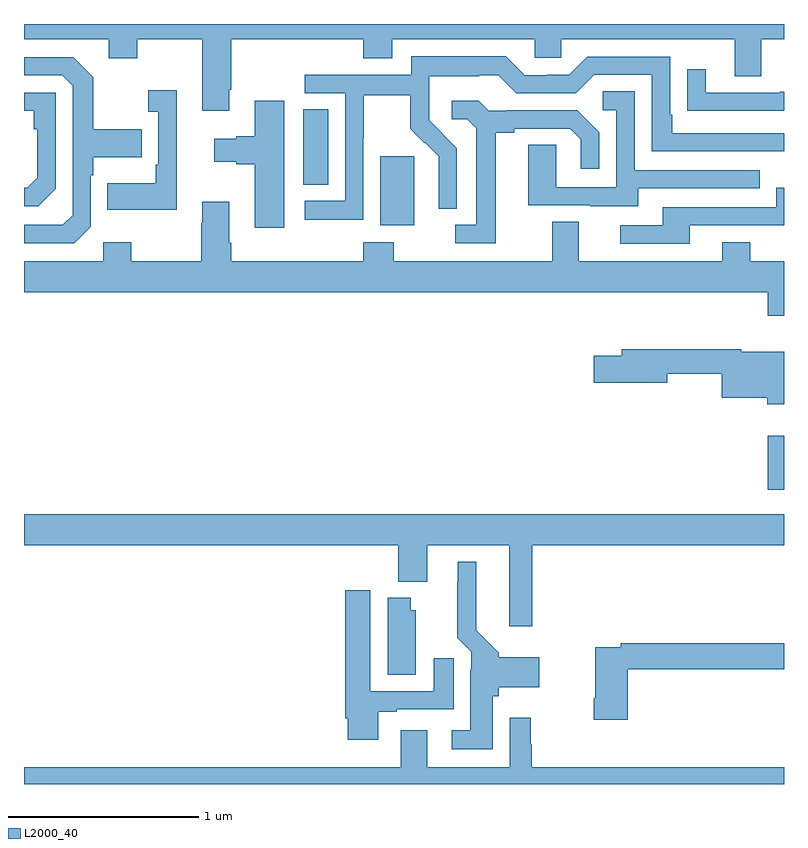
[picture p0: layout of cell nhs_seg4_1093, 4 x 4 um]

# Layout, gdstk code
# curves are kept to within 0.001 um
import gdstk
lib = gdstk.Library(unit=1e-6, precision=1e-09)
def R(c, l, rs):  # rectangles x0, y0, x1, y1
    for r in rs: c.add(gdstk.rectangle(r[:2], r[2:], *l))
def P(c, l, *ps):  # polygons
    for p in ps: c.add(gdstk.Polygon(p, *l))
L2000_40 = (2000, 40)

nhs_seg4_1093 = lib.new_cell('nhs_seg4_1093')
R(nhs_seg4_1093, L2000_40, [(170.915,794.448,171,794.734), (168.875,795.842,169.054,796.203), (168.47,796.054,168.601,796.451)])
P(nhs_seg4_1093, L2000_40, [(168.079,796.555),(168.092,796.555),(168.092,796.82),(168.785,796.82),(168.785,796.721),(168.937,796.721),(168.937,796.82),(169.689,796.82),(169.689,796.722),(169.827,796.722),(169.827,796.82),(170.741,796.82),(170.741,796.626),(170.881,796.626),(170.881,796.82),(171,796.82),(171,796.9),(167,796.9),(167,796.82),(167.447,796.82),(167.447,796.721),(167.595,796.721),(167.595,796.82),(167.939,796.82),(167.939,796.443),(168.079,796.443)],
  [(168.786,796.3),(168.789,796.3),(168.789,796.524),(169.033,796.524),(169.033,796.349),(169.11,796.272),(169.113,796.275),(169.184,796.205),(169.184,796.082),(169.182,796.082),(169.182,795.928),(169.278,795.928),(169.278,796.246),(169.132,796.394),(169.132,796.491),(169.134,796.491),(169.134,796.625),(169.397,796.625),(169.397,796.629),(169.497,796.629),(169.59,796.536),(169.905,796.536),(170.001,796.632),(170.304,796.632),(170.304,796.23),(171,796.23),(171,796.326),(170.413,796.326),(170.413,796.423),(170.4,796.423),(170.4,796.728),(169.965,796.728),(169.869,796.632),(169.751,796.632),(169.751,796.629),(169.635,796.629),(169.535,796.729),(169.038,796.729),(169.038,796.632),(168.477,796.632),(168.477,796.536),(168.69,796.536),(168.69,795.969),(168.477,795.969),(168.477,795.871),(168.786,795.871)],
  [(167.352,795.834),(167.352,796.103),(167.365,796.103),(167.365,796.199),(167.621,796.199),(167.621,796.347),(167.365,796.347),(167.365,796.619),(167.259,796.725),(167,796.725),(167,796.629),(167.202,796.629),(167.256,796.575),(167.256,795.894),(167.205,795.843),(167,795.843),(167,795.747),(167.265,795.747)],
  [(171,796.544),(170.977,796.544),(170.977,796.539),(170.587,796.539),(170.587,796.663),(170.491,796.663),(170.491,796.444),(170.593,796.444),(170.593,796.443),(171,796.443)],
  [(167.804,796.552),(167.655,796.552),(167.655,796.439),(167.706,796.439),(167.706,796.159),(167.694,796.159),(167.694,796.063),(167.437,796.063),(167.437,795.923),(167.804,795.923)],
  [(170.233,796.035),(170.873,796.035),(170.873,796.131),(170.214,796.131),(170.214,796.547),(170.046,796.547),(170.046,796.446),(170.118,796.446),(170.118,796.041),(169.8,796.041),(169.8,796.265),(169.655,796.265),(169.655,795.945),(169.979,795.945),(169.979,795.941),(170.233,795.941)],
  [(167.166,796.032),(167.166,796.539),(167,796.539),(167,796.443),(167.05,796.443),(167.05,796.346),(167.07,796.346),(167.07,796.092),(167.017,796.039),(167,796.039),(167,795.942),(167.076,795.942)],
  [(168.37,796.495),(168.215,796.495),(168.215,796.31),(168.116,796.31),(168.116,796.297),(168,796.297),(168,796.175),(168.116,796.175),(168.116,796.163),(168.215,796.163),(168.215,795.828),(168.37,795.828)],
  [(169.483,796.328),(169.579,796.328),(169.579,796.35),(169.874,796.35),(169.931,796.293),(169.931,796.137),(170.028,796.137),(170.028,796.33),(169.912,796.446),(169.54,796.446),(169.54,796.443),(169.446,796.443),(169.394,796.495),(169.251,796.495),(169.251,796.398),(169.332,796.398),(169.379,796.351),(169.379,795.843),(169.269,795.843),(169.269,795.747),(169.483,795.747)],
  [(170.503,795.84),(171,795.84),(171,796.039),(170.958,796.039),(170.958,795.936),(170.363,795.936),(170.363,795.84),(170.139,795.84),(170.139,795.744),(170.503,795.744)],
  [(171,795.652),(170.823,795.652),(170.823,795.751),(170.675,795.751),(170.675,795.652),(169.921,795.652),(169.921,795.86),(169.781,795.86),(169.781,795.652),(168.945,795.652),(168.945,795.751),(168.785,795.751),(168.785,795.652),(168.092,795.652),(168.092,795.748),(168.079,795.748),(168.079,795.964),(167.939,795.964),(167.939,795.851),(167.932,795.851),(167.932,795.652),(167.565,795.652),(167.565,795.751),(167.418,795.751),(167.418,795.652),(167,795.652),(167,795.488),(170.915,795.488),(170.915,795.364),(171,795.364)],
  [(171,795.175),(170.776,795.175),(170.776,795.187),(170.147,795.187),(170.147,795.153),(169.998,795.153),(169.998,795.011),(170.386,795.011),(170.386,795.058),(170.672,795.058),(170.672,794.933),(170.912,794.933),(170.912,794.9),(171,794.9)],
  [(169.676,794.156),(171,794.156),(171,794.32),(167,794.32),(167,794.156),(168.971,794.156),(168.971,793.964),(169.123,793.964),(169.123,794.156),(169.553,794.156),(169.553,793.731),(169.676,793.731)],
  [(169.468,793.362),(169.499,793.362),(169.499,793.409),(169.711,793.409),(169.711,793.567),(169.499,793.567),(169.499,793.59),(169.381,793.708),(169.381,794.071),(169.283,794.071),(169.283,793.961),(169.279,793.961),(169.279,793.67),(169.353,793.596),(169.353,793.502),(169.349,793.502),(169.349,793.183),(169.251,793.183),(169.251,793.082),(169.468,793.082)],
  [(168.865,793.281),(168.961,793.281),(168.961,793.293),(169.261,793.293),(169.261,793.561),(169.157,793.561),(169.157,793.389),(168.823,793.389),(168.823,793.921),(168.692,793.921),(168.692,793.246),(168.704,793.246),(168.704,793.134),(168.865,793.134)],
  [(169.063,793.815),(169.036,793.815),(169.036,793.879),(168.914,793.879),(168.914,793.474),(169.063,793.474)],
  [(170.177,793.504),(171,793.504),(171,793.64),(170.14,793.64),(170.14,793.62),(170.006,793.62),(170.006,793.351),(169.999,793.351),(169.999,793.239),(170.177,793.239)],
  [(171,792.988),(169.673,792.988),(169.673,793.11),(169.666,793.11),(169.666,793.249),(169.557,793.249),(169.557,792.988),(169.123,792.988),(169.123,793.183),(168.983,793.183),(168.983,792.988),(167,792.988),(167,792.9),(171,792.9)])

lib.write_gds('nhs_seg4_1093.gds')
